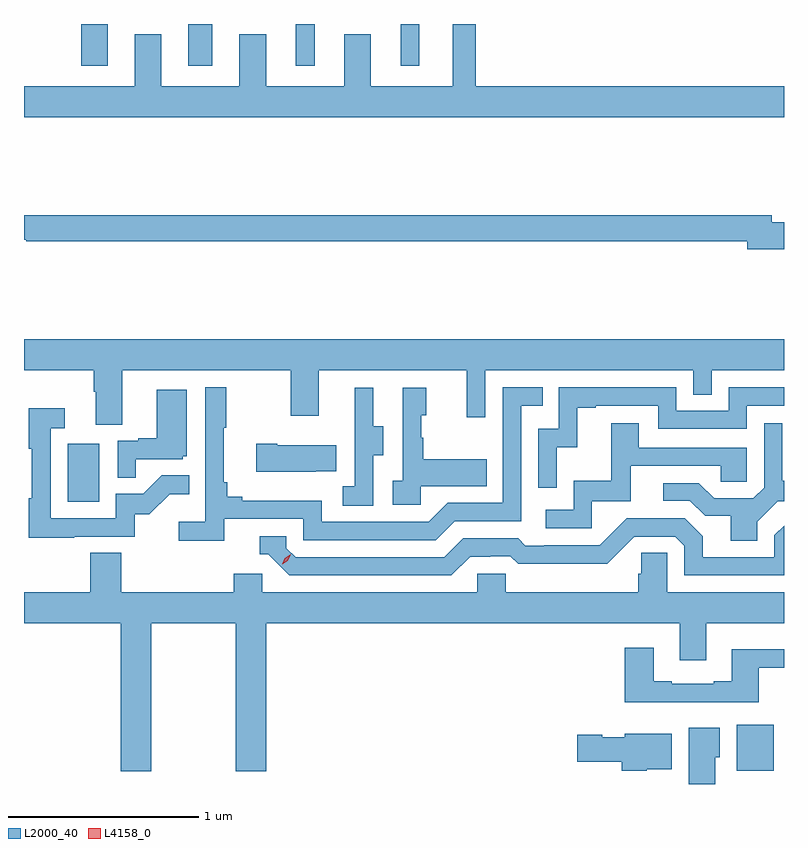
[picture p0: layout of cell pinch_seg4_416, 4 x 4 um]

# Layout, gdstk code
import gdstk
lib = gdstk.Library(unit=1e-6, precision=1e-09)
def R(c, l, rs):  # rectangles x0, y0, x1, y1
    for r in rs: c.add(gdstk.rectangle(r[:2], r[2:], *l))
def P(c, l, *ps):  # polygons
    for p in ps: c.add(gdstk.Polygon(p, *l))
L2000_40 = (2000, 40)
L4158_0 = (4158, 0)

pinch_seg4_416 = lib.new_cell('pinch_seg4_416')
R(pinch_seg4_416, L2000_40, [(996.233,774.734,996.43,774.976), (992.714,776.148,992.878,776.455), (992.783,778.443,992.923,778.663), (993.347,778.443,993.475,778.663), (993.914,778.443,994.012,778.663), (994.466,778.443,994.564,778.663)])
P(pinch_seg4_416, L2000_40, [(996.483,778.336),(994.861,778.336),(994.861,778.663),(994.739,778.663),(994.739,778.336),(994.309,778.336),(994.309,778.609),(994.169,778.609),(994.169,778.336),(993.757,778.336),(993.757,778.609),(993.617,778.609),(993.617,778.336),(993.205,778.336),(993.205,778.609),(993.065,778.609),(993.065,778.336),(992.483,778.336),(992.483,778.172),(996.483,778.172)],
  [(996.483,777.62),(996.418,777.62),(996.418,777.656),(992.483,777.656),(992.483,777.528),(992.494,777.528),(992.494,777.52),(996.29,777.52),(996.29,777.478),(996.483,777.478)],
  [(993.001,776.84),(993.886,776.84),(993.886,776.601),(994.033,776.601),(994.033,776.84),(994.814,776.84),(994.814,776.592),(994.911,776.592),(994.911,776.84),(996.006,776.84),(996.006,776.713),(996.102,776.713),(996.102,776.84),(996.483,776.84),(996.483,777.004),(992.483,777.004),(992.483,776.84),(992.849,776.84),(992.849,776.728),(992.861,776.728),(992.861,776.554),(993.001,776.554)],
  [(993.536,776.058),(993.954,776.058),(993.954,775.947),(994.651,775.947),(994.75,776.046),(995.1,776.046),(995.1,776.655),(995.213,776.655),(995.213,776.751),(995.004,776.751),(995.004,776.142),(994.713,776.142),(994.614,776.043),(994.05,776.043),(994.05,776.155),(993.631,776.155),(993.631,776.174),(993.554,776.174),(993.554,776.251),(993.535,776.251),(993.535,776.539),(993.547,776.539),(993.547,776.752),(993.438,776.752),(993.438,776.044),(993.297,776.044),(993.297,775.942),(993.536,775.942)],
  [(995.286,776.435),(995.396,776.435),(995.396,776.643),(995.491,776.643),(995.491,776.655),(995.82,776.655),(995.82,776.532),(996.288,776.532),(996.288,776.655),(996.483,776.655),(996.483,776.751),(996.192,776.751),(996.192,776.628),(995.916,776.628),(995.916,776.751),(995.298,776.751),(995.298,776.532),(995.19,776.532),(995.19,776.223),(995.286,776.223)],
  [(994.32,776.392),(994.375,776.392),(994.375,776.547),(994.321,776.547),(994.321,776.749),(994.223,776.749),(994.223,776.535),(994.224,776.535),(994.224,776.231),(994.161,776.231),(994.161,776.128),(994.32,776.128)],
  [(994.572,776.231),(994.919,776.231),(994.919,776.371),(994.585,776.371),(994.585,776.486),(994.575,776.486),(994.575,776.604),(994.6,776.604),(994.6,776.749),(994.476,776.749),(994.476,776.258),(994.425,776.258),(994.425,776.133),(994.572,776.133)],
  [(993.071,776.373),(993.318,776.373),(993.318,776.388),(993.34,776.388),(993.34,776.737),(993.182,776.737),(993.182,776.482),(993.083,776.482),(993.083,776.469),(992.976,776.469),(992.976,776.275),(993.071,776.275)],
  [(992.747,775.965),(993.066,775.965),(993.066,776.082),(993.142,776.082),(993.249,776.189),(993.353,776.189),(993.353,776.288),(993.209,776.288),(993.111,776.19),(992.967,776.19),(992.967,776.061),(992.625,776.061),(992.625,776.535),(992.698,776.535),(992.698,776.641),(992.509,776.641),(992.509,776.428),(992.524,776.428),(992.524,776.168),(992.509,776.168),(992.509,775.96),(992.747,775.96)],
  [(995.472,776.151),(995.677,776.151),(995.677,776.337),(996.151,776.337),(996.151,776.253),(996.288,776.253),(996.288,776.433),(995.719,776.433),(995.719,776.563),(995.575,776.563),(995.575,776.26),(995.376,776.26),(995.376,776.106),(995.229,776.106),(995.229,776.01),(995.472,776.01)],
  [(996.343,776.044),(996.45,776.151),(996.483,776.151),(996.483,776.26),(996.475,776.26),(996.475,776.563),(996.378,776.563),(996.378,776.223),(996.321,776.166),(996.115,776.166),(996.034,776.247),(995.847,776.247),(995.847,776.154),(995.988,776.154),(996.068,776.074),(996.203,776.074),(996.203,775.942),(996.343,775.942)],
  [(994.019,776.309),(994.127,776.309),(994.127,776.446),(993.817,776.446),(993.817,776.454),(993.705,776.454),(993.705,776.306),(994.019,776.306)],
  [(994.831,775.86),(994.938,775.86),(994.938,775.863),(995.041,775.863),(995.083,775.821),(995.316,775.821),(995.316,775.823),(995.552,775.823),(995.694,775.965),(995.91,775.965),(995.958,775.917),(995.958,775.761),(996.483,775.761),(996.483,776.022),(996.432,775.971),(996.432,775.857),(996.055,775.857),(996.055,775.967),(995.961,776.061),(995.655,776.061),(995.514,775.92),(995.221,775.92),(995.221,775.917),(995.122,775.917),(995.083,775.956),(994.794,775.956),(994.695,775.857),(993.912,775.857),(993.864,775.905),(993.864,775.968),(993.725,775.968),(993.725,775.872),(993.768,775.872),(993.879,775.761),(994.732,775.761)],
  [(995.933,775.314),(996.073,775.314),(996.073,775.508),(996.483,775.508),(996.483,775.672),(995.868,775.672),(995.868,775.88),(995.731,775.88),(995.731,775.77),(995.717,775.77),(995.717,775.672),(995.019,775.672),(995.019,775.77),(994.869,775.77),(994.869,775.672),(993.738,775.672),(993.738,775.77),(993.587,775.77),(993.587,775.672),(992.996,775.672),(992.996,775.88),(992.831,775.88),(992.831,775.672),(992.483,775.672),(992.483,775.508),(992.993,775.508),(992.993,774.729),(993.153,774.729),(993.153,775.508),(993.598,775.508),(993.598,774.729),(993.758,774.729),(993.758,775.508),(995.933,775.508)],
  [(996.349,775.275),(996.483,775.275),(996.483,775.372),(996.209,775.372),(996.209,775.204),(996.113,775.204),(996.113,775.191),(995.893,775.191),(995.893,775.204),(995.797,775.204),(995.797,775.381),(995.645,775.381),(995.645,775.094),(996.349,775.094)],
  [(996.121,774.804),(996.145,774.804),(996.145,774.958),(995.981,774.958),(995.981,774.663),(996.121,774.663)],
  [(995.76,774.74),(995.893,774.74),(995.893,774.928),(995.646,774.928),(995.646,774.91),(995.526,774.91),(995.526,774.923),(995.394,774.923),(995.394,774.781),(995.63,774.781),(995.63,774.734),(995.76,774.734)])
P(pinch_seg4_416, L4158_0, [(993.841,775.82),(993.841,775.82),(993.856,775.852),(993.886,775.872),(993.887,775.872),(993.887,775.872),(993.871,775.839),(993.841,775.82)])

lib.write_gds('pinch_seg4_416.gds')
